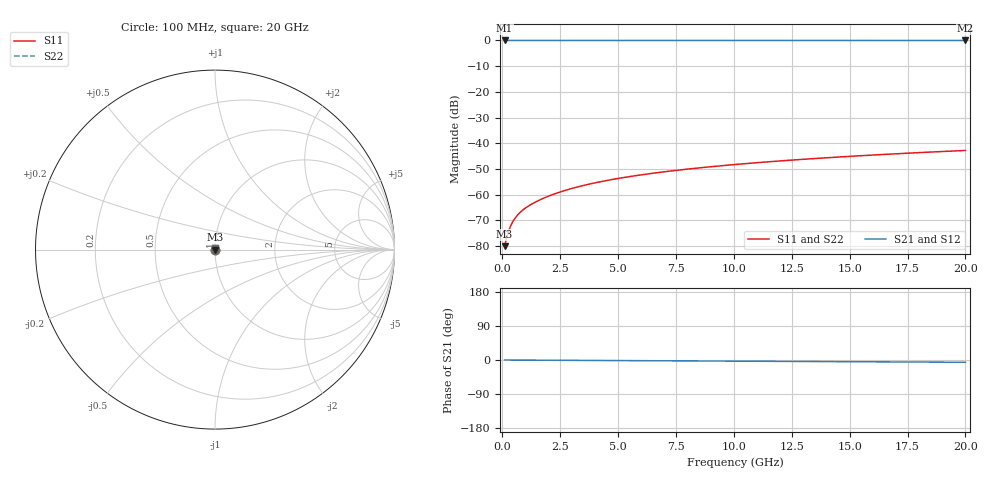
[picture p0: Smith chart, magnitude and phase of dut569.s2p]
! Touchstone file exported from HFSS 2026.1.0
!  File:  C:/ffzhzh/LocalFiles/Ansys_Project_Files/temp_train_TSV_569_1783024691_46388.aedt
!  Generated:  04:39:59 AM Jul  3, 2026
!  Design:  TSV
!  Project:  temp_train_TSV_569_1783024691_46388
! Variables:
!  h_bsmrdl = 2um
!  h_ox = 20um
!  h_rdl = 5um
!  h_sub = 55.15um
!  h_tmrdl = 5um
!  h_tsv = 55.15um
!  h_via = 3um
!  l_bsmrdl = 300um
!  l_sub = 423.9um
!  l_tmrdl = 200um
!  m_sub = 200um
!  pitch = 50.78um
!  r_tsv = 11.95um
!  s_tmrdl = 10um
!  w_bsmrdl = 18um
!  w_sub = 500um
!  w_tmrdl = 12um
!  x_tsv_center1 = 206um
!  x_tsv_center2 = 524um
!  x_tsv_center3 = 736um
!  x_tsv_center4 = 1054um
!  x_tsv_center5 = 1266um
!  x_tsv_center6 = 1584um
# GHz S MA R 50.000000
! Terminal data exported
! Port[1] = TSV1_1_T1
! Port[2] = TSV1_1_T2
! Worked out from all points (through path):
!   200 points, 100 MHz to 20 GHz, reference 50 ohm
!   highest |S21| = 0.00 dB at 100 MHz (marker M1); lowest = 0.0 dB at 20 GHz (marker M2)
!   lowest |S11| = -80.0 dB at 100 MHz (marker M3), VSWR 1.00, Z = 50 + j0.00661 ohm
!   |S11| at or under -10 dB: start of sweep to end of sweep
!   |S22| runs from -80.0 to -42.8 dB; largest |S21 - S12| = 3e-15
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0.1  0.0001001 41.3  0.9999 -0.0  0.9999 -0.0  0.0001001 41.3
! Gamma 0 0 0 0
! Port Impedance 50 0 50 0
0.2  0.0001548 57.1  0.9999 -0.1  0.9999 -0.1  0.0001548 57.1
0.3  0.0002136 62.9  0.9999 -0.1  0.9999 -0.1  0.0002136 62.9
0.4  0.0002707 65.3  0.9999 -0.1  0.9999 -0.1  0.0002707 65.3
0.5  0.0003245 66.4  0.9999 -0.2  0.9999 -0.2  0.0003245 66.4
0.6  0.0003749 67.0  0.9999 -0.2  0.9999 -0.2  0.0003749 67.0
0.7  0.0004223 67.4  0.9998 -0.2  0.9998 -0.2  0.0004223 67.4
0.9  0.0005102 68.1  0.9998 -0.3  0.9998 -0.3  0.0005102 68.1
1.1  0.0005922 68.9  0.9998 -0.3  0.9998 -0.3  0.0005922 68.9
1.3  0.0006713 69.8  0.9998 -0.4  0.9998 -0.4  0.0006713 69.8
1.6  0.0007875 71.1  0.9997 -0.5  0.9997 -0.5  0.0007875 71.1
1.9  0.0009028 72.2  0.9997 -0.6  0.9997 -0.6  0.0009028 72.2
2.6  0.001171 74.2  0.9997 -0.8  0.9997 -0.8  0.001171 74.2
3.5  0.001515 75.7  0.9997 -1.1  0.9997 -1.1  0.001515 75.7
4.2  0.001778 76.4  0.9996 -1.3  0.9996 -1.3  0.001778 76.4
5  0.002075 76.9  0.9996 -1.5  0.9996 -1.5  0.002075 76.9
6.8  0.002727 77.6  0.9995 -2.1  0.9995 -2.1  0.002727 77.6
8.3  0.00326 78.0  0.9995 -2.5  0.9995 -2.5  0.00326 78.0
10.1  0.003891 78.2  0.9994 -3.0  0.9994 -3.0  0.003891 78.2
13.4  0.005034 78.2  0.9993 -4.0  0.9993 -4.0  0.005034 78.2
16.7  0.00616 77.9  0.9992 -5.0  0.9992 -5.0  0.00616 77.9
20  0.007266 77.4  0.9991 -6.0  0.9991 -6.0  0.007266 77.3
